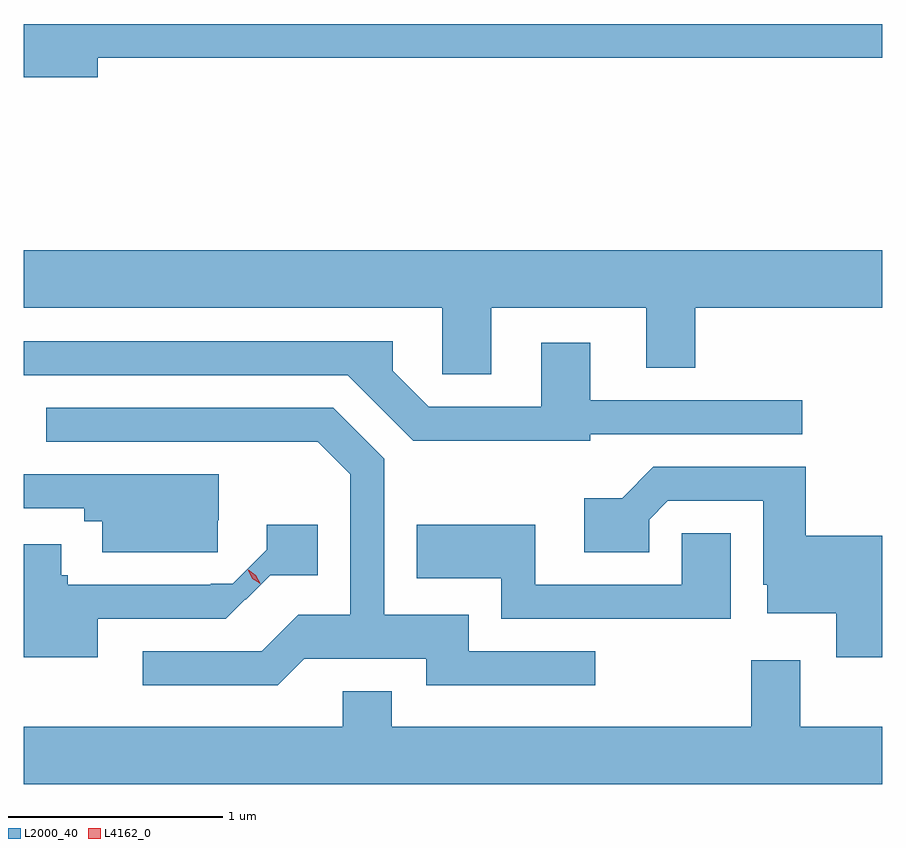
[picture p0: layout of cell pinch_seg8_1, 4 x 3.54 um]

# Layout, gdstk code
import gdstk
lib = gdstk.Library(unit=1e-6, precision=1e-09)
def P(c, l, *ps):  # polygons
    for p in ps: c.add(gdstk.Polygon(p, *l))
L2000_40 = (2000, 40)
L4162_0 = (4162, 0)

pinch_seg8_1 = lib.new_cell('pinch_seg8_1')
P(pinch_seg8_1, L2000_40, [(1719.944,1915.281),(1723.6,1915.281),(1723.6,1915.439),(1719.6,1915.439),(1719.6,1915.191),(1719.944,1915.191)],
  [(1721.779,1914.116),(1722.501,1914.116),(1722.501,1913.836),(1722.729,1913.836),(1722.729,1914.116),(1723.6,1914.116),(1723.6,1914.384),(1719.6,1914.384),(1719.6,1914.116),(1721.551,1914.116),(1721.551,1913.806),(1721.779,1913.806)],
  [(1722.239,1913.526),(1723.228,1913.526),(1723.228,1913.684),(1722.239,1913.684),(1722.239,1913.954),(1722.011,1913.954),(1722.011,1913.654),(1721.487,1913.654),(1721.319,1913.822),(1721.319,1913.959),(1719.6,1913.959),(1719.6,1913.801),(1721.109,1913.801),(1721.414,1913.496),(1722.239,1913.496)],
  [(1720.907,1912.481),(1721.476,1912.481),(1721.476,1912.356),(1722.263,1912.356),(1722.263,1912.514),(1721.674,1912.514),(1721.674,1912.684),(1721.279,1912.684),(1721.279,1913.412),(1721.042,1913.649),(1719.703,1913.649),(1719.703,1913.491),(1720.969,1913.491),(1721.121,1913.339),(1721.121,1912.684),(1720.879,1912.684),(1720.709,1912.514),(1720.153,1912.514),(1720.153,1912.356),(1720.782,1912.356)],
  [(1723.6,1913.054),(1723.244,1913.054),(1723.244,1913.374),(1722.534,1913.374),(1722.389,1913.229),(1722.211,1913.229),(1722.211,1912.976),(1722.514,1912.976),(1722.514,1913.129),(1722.602,1913.216),(1723.046,1913.216),(1723.046,1912.826),(1723.066,1912.826),(1723.066,1912.691),(1723.386,1912.691),(1723.386,1912.486),(1723.6,1912.486)],
  [(1720.504,1913.125),(1720.509,1913.125),(1720.509,1913.339),(1719.6,1913.339),(1719.6,1913.181),(1719.881,1913.181),(1719.881,1913.121),(1719.966,1913.121),(1719.966,1912.976),(1720.504,1912.976)],
  [(1719.944,1912.666),(1720.541,1912.666),(1720.632,1912.758),(1720.634,1912.756),(1720.748,1912.87),(1720.969,1912.87),(1720.969,1913.104),(1720.731,1913.104),(1720.731,1912.987),(1720.573,1912.829),(1720.47,1912.829),(1720.47,1912.824),(1719.804,1912.824),(1719.804,1912.869),(1719.774,1912.869),(1719.774,1913.014),(1719.6,1913.014),(1719.6,1912.486),(1719.944,1912.486)],
  [(1722.894,1913.064),(1722.666,1913.064),(1722.666,1912.824),(1721.984,1912.824),(1721.984,1913.104),(1721.431,1913.104),(1721.431,1912.856),(1721.826,1912.856),(1721.826,1912.666),(1722.894,1912.666)],
  [(1723.6,1912.164),(1723.219,1912.164),(1723.219,1912.474),(1722.991,1912.474),(1722.991,1912.164),(1721.314,1912.164),(1721.314,1912.329),(1721.086,1912.329),(1721.086,1912.164),(1719.6,1912.164),(1719.6,1911.896),(1723.6,1911.896)])
P(pinch_seg8_1, L4162_0, [(1720.703,1912.827),(1720.666,1912.855),(1720.643,1912.896),(1720.643,1912.897),(1720.644,1912.897),(1720.681,1912.868),(1720.704,1912.827),(1720.704,1912.827)],
  [(1720.699,1912.831),(1720.665,1912.854),(1720.645,1912.89),(1720.645,1912.891),(1720.646,1912.891),(1720.68,1912.868),(1720.7,1912.832),(1720.7,1912.831)])

lib.write_gds('pinch_seg8_1.gds')
